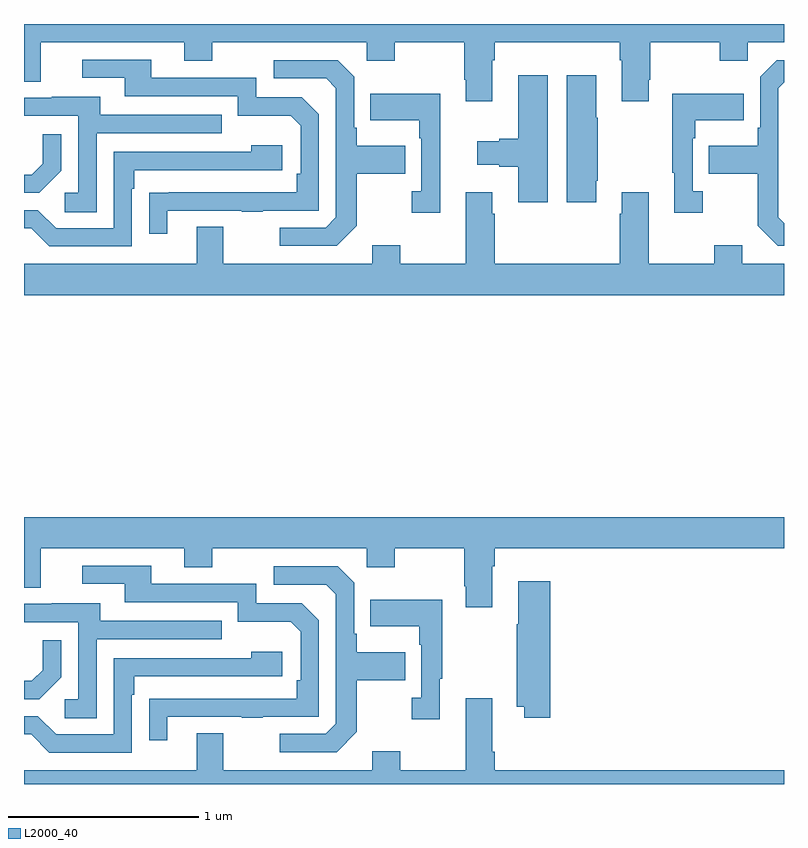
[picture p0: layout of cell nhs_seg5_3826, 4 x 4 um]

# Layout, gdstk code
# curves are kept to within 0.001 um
import gdstk
lib = gdstk.Library(unit=1e-6, precision=1e-09)
def P(c, l, *ps):  # polygons
    for p in ps: c.add(gdstk.Polygon(p, *l))
L2000_40 = (2000, 40)

nhs_seg5_3826 = lib.new_cell('nhs_seg5_3826')
P(nhs_seg5_3826, L2000_40, [(337.465,912.608),(337.478,912.608),(337.478,912.704),(338.135,912.704),(338.135,912.608),(338.147,912.608),(338.147,912.393),(338.287,912.393),(338.287,912.505),(338.295,912.505),(338.295,912.704),(338.662,912.704),(338.662,912.605),(338.808,912.605),(338.808,912.704),(339,912.704),(339,912.799),(335,912.799),(335,912.496),(335.089,912.496),(335.089,912.704),(335.843,912.704),(335.843,912.605),(335.991,912.605),(335.991,912.704),(336.804,912.704),(336.804,912.605),(336.951,912.605),(336.951,912.704),(337.318,912.704),(337.318,912.505),(337.325,912.505),(337.325,912.393),(337.465,912.393)],
  [(335.755,911.817),(336.145,911.817),(336.145,911.812),(336.257,911.812),(336.257,911.817),(336.552,911.817),(336.552,912.324),(336.462,912.414),(336.222,912.414),(336.222,912.516),(335.671,912.516),(335.671,912.612),(335.307,912.612),(335.307,912.516),(335.531,912.516),(335.531,912.42),(336.126,912.42),(336.126,912.317),(336.403,912.317),(336.456,912.264),(336.456,912.01),(336.436,912.01),(336.436,911.913),(335.659,911.912),(335.659,911.694),(335.755,911.694)],
  [(336.751,911.737),(336.751,912.01),(337.007,912.01),(337.007,912.157),(336.751,912.157),(336.751,912.253),(336.738,912.253),(336.738,912.522),(336.651,912.609),(336.315,912.609),(336.315,912.513),(336.591,912.513),(336.642,912.462),(336.642,911.781),(336.588,911.727),(336.345,911.727),(336.345,911.631),(336.645,911.631)],
  [(339,911.751),(338.97,911.781),(338.97,912.462),(339,912.492),(339,912.609),(338.961,912.609),(338.874,912.522),(338.874,912.253),(338.862,912.253),(338.862,912.157),(338.605,912.157),(338.605,912.01),(338.862,912.01),(338.862,911.737),(338.967,911.631),(339,911.631)],
  [(338.011,911.974),(338.019,911.974),(338.019,912.305),(338.011,912.305),(338.011,912.529),(337.856,912.529),(337.856,911.862),(338.011,911.862)],
  [(337.756,912.529),(337.601,912.529),(337.601,912.194),(337.502,912.194),(337.502,912.181),(337.386,912.181),(337.386,912.059),(337.502,912.059),(337.502,912.047),(337.601,912.047),(337.601,911.862),(337.756,911.862)],
  [(338.572,911.918),(338.52,911.918),(338.52,912.197),(338.533,912.197),(338.533,912.293),(338.789,912.293),(338.789,912.433),(338.412,912.433),(338.412,912.017),(338.423,912.017),(338.423,911.805),(338.572,911.805)],
  [(337.19,912.433),(336.823,912.433),(336.823,912.293),(337.08,912.293),(337.08,912.197),(337.092,912.197),(337.092,911.918),(337.041,911.918),(337.041,911.805),(337.19,911.805)],
  [(335.382,912.225),(336.041,912.225),(336.041,912.321),(335.401,912.321),(335.401,912.415),(335.147,912.415),(335.147,912.411),(335,912.411),(335,912.315),(335.286,912.315),(335.286,911.91),(335.214,911.91),(335.214,911.809),(335.382,911.809)],
  [(335.196,912.026),(335.196,912.22),(335.099,912.22),(335.099,912.063),(335.042,912.006),(335,912.006),(335,911.91),(335.08,911.91)],
  [(335.568,911.933),(335.581,911.933),(335.581,912.03),(336.358,912.03),(336.358,912.16),(336.197,912.16),(336.197,912.126),(335.472,912.126),(335.472,911.724),(335.169,911.724),(335.073,911.82),(335,911.82),(335,911.724),(335.037,911.724),(335.133,911.628),(335.568,911.628)],
  [(339,911.536),(338.779,911.536),(338.779,911.635),(338.632,911.635),(338.632,911.536),(338.287,911.536),(338.287,911.914),(338.147,911.914),(338.147,911.801),(338.135,911.801),(338.135,911.536),(337.478,911.536),(337.478,911.801),(337.465,911.801),(337.465,911.914),(337.325,911.914),(337.325,911.536),(336.981,911.536),(336.981,911.635),(336.833,911.635),(336.833,911.536),(336.049,911.536),(336.049,911.731),(335.909,911.731),(335.909,911.536),(335,911.536),(335,911.372),(339,911.372)],
  [(337.465,909.944),(337.478,909.944),(337.478,910.04),(339,910.04),(339,910.204),(335,910.204),(335,909.832),(335.089,909.832),(335.089,910.04),(335.843,910.04),(335.843,909.941),(335.991,909.941),(335.991,910.04),(336.804,910.04),(336.804,909.941),(336.951,909.941),(336.951,910.04),(337.318,910.04),(337.318,909.841),(337.325,909.841),(337.325,909.729),(337.465,909.729)],
  [(335.755,909.153),(336.145,909.153),(336.145,909.148),(336.257,909.148),(336.257,909.153),(336.552,909.153),(336.552,909.66),(336.462,909.75),(336.222,909.75),(336.222,909.852),(335.671,909.852),(335.671,909.948),(335.307,909.948),(335.307,909.852),(335.531,909.852),(335.531,909.756),(336.126,909.756),(336.126,909.653),(336.403,909.653),(336.456,909.6),(336.456,909.346),(336.436,909.346),(336.436,909.249),(335.659,909.248),(335.659,909.03),(335.755,909.03)],
  [(336.751,909.073),(336.751,909.346),(337.007,909.346),(337.007,909.493),(336.751,909.493),(336.751,909.589),(336.738,909.589),(336.738,909.858),(336.651,909.945),(336.315,909.945),(336.315,909.849),(336.591,909.849),(336.642,909.798),(336.642,909.117),(336.588,909.063),(336.345,909.063),(336.345,908.967),(336.645,908.967)],
  [(337.769,909.865),(337.601,909.865),(337.601,909.641),(337.594,909.641),(337.594,909.206),(337.634,909.206),(337.634,909.147),(337.769,909.147)],
  [(337.189,909.353),(337.201,909.353),(337.201,909.769),(336.823,909.769),(336.823,909.629),(337.08,909.629),(337.08,909.533),(337.092,909.533),(337.092,909.254),(337.041,909.254),(337.041,909.141),(337.189,909.141)],
  [(335.382,909.561),(336.041,909.561),(336.041,909.657),(335.401,909.657),(335.401,909.751),(335.147,909.751),(335.147,909.747),(335,909.747),(335,909.651),(335.286,909.651),(335.286,909.246),(335.214,909.246),(335.214,909.145),(335.382,909.145)],
  [(335.196,909.362),(335.196,909.556),(335.099,909.556),(335.099,909.399),(335.042,909.342),(335,909.342),(335,909.246),(335.08,909.246)],
  [(335.568,909.269),(335.581,909.269),(335.581,909.366),(336.358,909.366),(336.358,909.496),(336.197,909.496),(336.197,909.462),(335.472,909.462),(335.472,909.06),(335.169,909.06),(335.073,909.156),(335,909.156),(335,909.06),(335.037,909.06),(335.133,908.964),(335.568,908.964)],
  [(339,908.872),(337.478,908.872),(337.478,908.968),(337.465,908.968),(337.465,909.25),(337.325,909.25),(337.325,908.872),(336.981,908.872),(336.981,908.971),(336.833,908.971),(336.833,908.872),(336.049,908.872),(336.049,909.067),(335.909,909.067),(335.909,908.872),(335,908.872),(335,908.799),(339,908.799)])

lib.write_gds('nhs_seg5_3826.gds')
